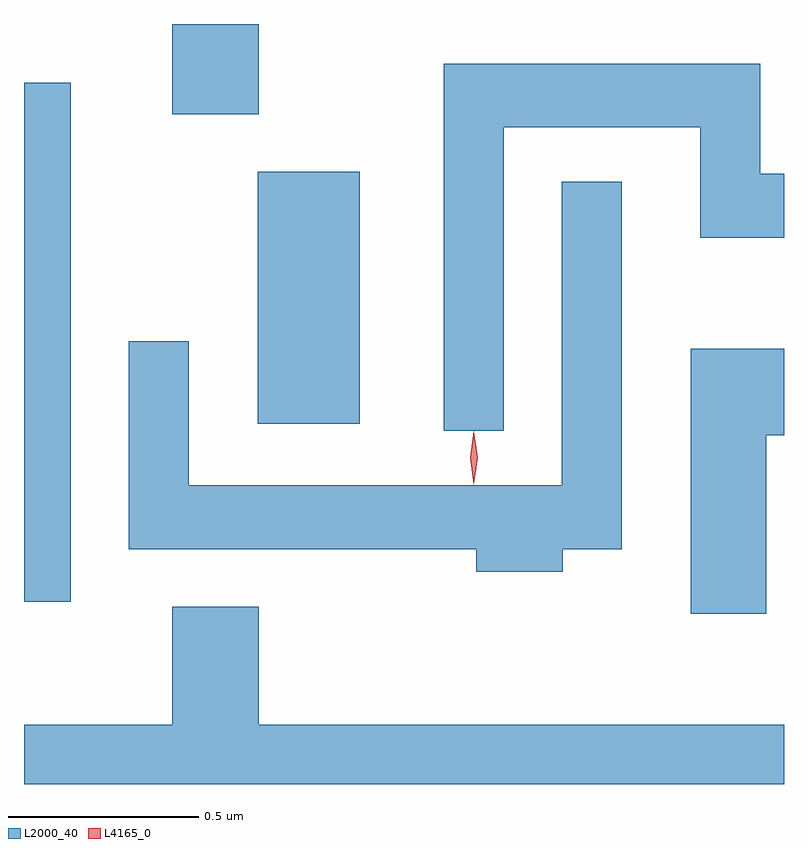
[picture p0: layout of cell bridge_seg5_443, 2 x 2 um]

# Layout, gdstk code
import gdstk
lib = gdstk.Library(unit=1e-6, precision=1e-09)
def R(c, l, rs):  # rectangles x0, y0, x1, y1
    for r in rs: c.add(gdstk.rectangle(r[:2], r[2:], *l))
def P(c, l, *ps):  # polygons
    for p in ps: c.add(gdstk.Polygon(p, *l))
L2000_40 = (2000, 40)
L4165_0 = (4165, 0)

bridge_seg5_443 = lib.new_cell('bridge_seg5_443')
R(bridge_seg5_443, L2000_40, [(552.091,1521.768,552.214,1523.134), (552.706,1522.236,552.974,1522.899), (552.481,1523.051,552.709,1523.288)])
P(bridge_seg5_443, L2000_40, [(553.354,1523.016),(553.871,1523.016),(553.871,1522.726),(554.091,1522.726),(554.091,1522.894),(554.029,1522.894),(554.029,1523.184),(553.196,1523.184),(553.196,1522.218),(553.354,1522.218)],
  [(553.509,1521.906),(553.664,1521.906),(553.664,1522.873),(553.506,1522.873),(553.506,1522.074),(552.524,1522.074),(552.524,1522.453),(552.366,1522.453),(552.366,1521.906),(553.281,1521.906),(553.281,1521.846),(553.509,1521.846)],
  [(554.044,1522.206),(554.091,1522.206),(554.091,1522.434),(553.846,1522.434),(553.846,1521.736),(554.044,1521.736)],
  [(554.091,1521.444),(552.709,1521.444),(552.709,1521.754),(552.481,1521.754),(552.481,1521.444),(552.091,1521.444),(552.091,1521.288),(554.091,1521.288)])
P(bridge_seg5_443, L4165_0, [(553.275,1522.079),(553.274,1522.08),(553.265,1522.146),(553.274,1522.212),(553.275,1522.213),(553.275,1522.212),(553.285,1522.146),(553.275,1522.08)],
  [(553.274,1522.077),(553.265,1522.146),(553.274,1522.216),(553.275,1522.216),(553.275,1522.216),(553.285,1522.146),(553.275,1522.077),(553.275,1522.077)])

lib.write_gds('bridge_seg5_443.gds')
